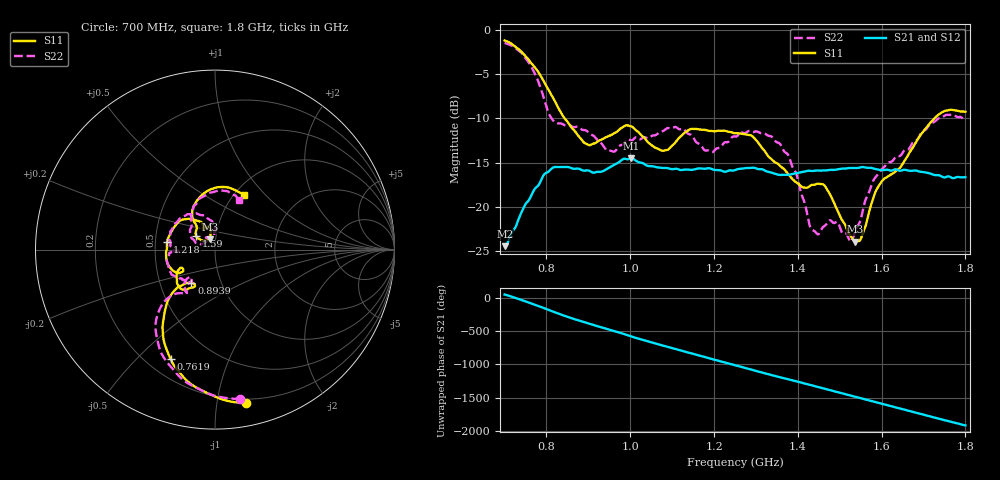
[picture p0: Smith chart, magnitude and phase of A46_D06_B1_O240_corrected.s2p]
! Created with skrf 1.9.0 (http://scikit-rf.org).
# Hz S RI R 50.0
!freq ReS11 ImS11 ReS21 ImS21 ReS12 ImS12 ReS22 ImS22
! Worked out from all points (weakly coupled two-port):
!   1601 points, 700 MHz to 1.8 GHz, reference 50 ohm
!   highest |S21| = -14.51 dB at 1.002 GHz (marker M1); lowest = -24.4 dB at 700.7 MHz (marker M2)
!   lowest |S11| = -23.9 dB at 1.537 GHz (marker M3), VSWR 1.14, Z = 46.9 + j5.34 ohm
!   |S11| at or under -10 dB: 843.6 MHz to 1.726 GHz (882.2 MHz wide, 68.7 % of centre)
!   |S22| runs from -23.9 to -1.5 dB; largest |S21 - S12| = 0.0035
!   S11 on the Smith chart (normalised r, x): 700 MHz: 0.17, -1.21; 761.9 MHz: 0.30, -0.63; 893.9 MHz: 0.72, -0.28; 1.218 GHz: 0.58, +0.05; 1.59 GHz: 0.80, +0.12; 1.8 GHz: 1.11, +0.77
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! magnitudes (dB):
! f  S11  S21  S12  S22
! 700 MHz  -1.2  -24.4  -24.2  -1.5
! 700.7 MHz  -1.2  -24.4  -24.1  -1.5
! 761.9 MHz  -3.7  -18.9  -18.8  -4.0
! 814.8 MHz  -7.6  -15.6  -15.6  -10.2
! 883.6 MHz  -12.4  -15.8  -15.7  -11.2
! 893.9 MHz  -12.8  -15.9  -15.9  -11.3
! 948.2 MHz  -12.0  -15.6  -15.6  -13.6
! 1.002 GHz  -10.9  -14.5  -14.6  -12.5
! 1.067 GHz  -13.5  -15.5  -15.5  -11.6
! 1.144 GHz  -11.2  -15.8  -15.8  -11.8
! 1.218 GHz  -11.4  -15.9  -15.9  -13.1
! 1.25 GHz  -11.7  -15.8  -15.8  -12.0
! 1.357 GHz  -15.3  -16.4  -16.3  -12.9
! 1.396 GHz  -17.2  -16.2  -16.2  -16.2
! 1.434 GHz  -17.5  -15.9  -15.9  -22.6
! 1.466 GHz  -17.7  -15.9  -15.8  -22.1
! 1.537 GHz  -23.9  -15.6  -15.6  -22.8
! 1.553 GHz  -23.2  -15.5  -15.5  -20.8
! 1.59 GHz  -17.8  -15.8  -15.7  -16.4
! 1.617 GHz  -16.5  -15.8  -15.8  -15.0
! 1.733 GHz  -9.7  -16.4  -16.4  -10.1
! 1.8 GHz  -9.2  -16.6  -16.6  -10.2
